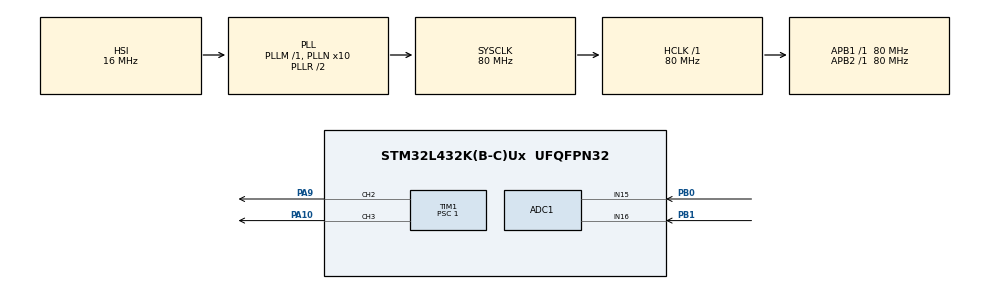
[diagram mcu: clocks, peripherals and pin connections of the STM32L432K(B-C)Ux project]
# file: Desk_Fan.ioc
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ADC1.EnableInjectedConversion=ENABLE
ADC1.EnableRegularConversion=DISABLE
ADC1.InjMonitoredBy-2\#ChannelInjectedConversion=__NULL
ADC1.InjMonitoredBy-3\#ChannelInjectedConversion=__NULL
ADC1.InjNumberOfConversion=2
ADC1.InjectedChannel-2\#ChannelInjectedConversion=ADC_CHANNEL_15
ADC1.InjectedChannel-3\#ChannelInjectedConversion=ADC_CHANNEL_16
ADC1.InjectedOffsetNumber-2\#ChannelInjectedConversion=ADC_OFFSET_NONE
ADC1.InjectedOffsetNumber-3\#ChannelInjectedConversion=ADC_OFFSET_NONE
ADC1.InjectedRank-2\#ChannelInjectedConversion=1
ADC1.InjectedRank-3\#ChannelInjectedConversion=2
ADC1.InjectedSamplingTime-2\#ChannelInjectedConversion=ADC_SAMPLETIME_640CYCLES_5
ADC1.InjectedSamplingTime-3\#ChannelInjectedConversion=ADC_SAMPLETIME_640CYCLES_5
ADC1.Rank1_Channel=ADC_CHANNEL_15
ADC1.Rank2_Channel=ADC_CHANNEL_16
ADC1.master=1
Dma.Request0=TIM1_CH2
Dma.Request1=TIM1_CH3
Dma.TIM1_CH2.0.Direction=DMA_MEMORY_TO_PERIPH
Dma.TIM1_CH2.0.Instance=DMA1_Channel3
Dma.TIM1_CH2.0.MemDataAlignment=DMA_MDATAALIGN_HALFWORD
Dma.TIM1_CH2.0.MemInc=DMA_MINC_ENABLE
Dma.TIM1_CH2.0.Mode=DMA_NORMAL
Dma.TIM1_CH2.0.PeriphDataAlignment=DMA_PDATAALIGN_HALFWORD
Dma.TIM1_CH2.0.PeriphInc=DMA_PINC_DISABLE
Dma.TIM1_CH2.0.Priority=DMA_PRIORITY_LOW
Dma.TIM1_CH3.1.Direction=DMA_MEMORY_TO_PERIPH
Dma.TIM1_CH3.1.Instance=DMA1_Channel7
Dma.TIM1_CH3.1.MemDataAlignment=DMA_MDATAALIGN_HALFWORD
Dma.TIM1_CH3.1.MemInc=DMA_MINC_ENABLE
Dma.TIM1_CH3.1.Mode=DMA_NORMAL
Dma.TIM1_CH3.1.PeriphDataAlignment=DMA_PDATAALIGN_HALFWORD
Dma.TIM1_CH3.1.PeriphInc=DMA_PINC_DISABLE
Dma.TIM1_CH3.1.Priority=DMA_PRIORITY_LOW
Mcu.Family=STM32L4
Mcu.Name=STM32L432K(B-C)Ux
Mcu.Package=UFQFPN32
NVIC.ADC1_IRQn=true\:0\:0\:false\:false\:true\:true\:true\:true
NVIC.DMA1_Channel3_IRQn=true\:0\:0\:false\:false\:true\:false\:true\:true
NVIC.DMA1_Channel7_IRQn=true\:0\:0\:false\:false\:true\:false\:true\:true
NVIC.PriorityGroup=NVIC_PRIORITYGROUP_4
PA10.Signal=S_TIM1_CH3
PA9.Signal=S_TIM1_CH2
PB0.Signal=ADCx_IN15
PB1.Signal=ADCx_IN16
ProjectManager.HeapSize=0x200
ProjectManager.StackSize=0x400
ProjectManager.TargetToolchain=STM32CubeIDE
RCC.ADCFreq_Value=80000000
RCC.AHBFreq_Value=80000000
RCC.APB1Freq_Value=80000000
RCC.APB1TimFreq_Value=80000000
RCC.APB2Freq_Value=80000000
RCC.APB2TimFreq_Value=80000000
RCC.CortexFreq_Value=80000000
RCC.HCLKFreq_Value=80000000
RCC.HSE_VALUE=8000000
RCC.HSI48_VALUE=48000000
RCC.HSI_VALUE=16000000
RCC.LSE_VALUE=32768
RCC.MSI_VALUE=4000000
RCC.PLLN=10
RCC.PLLSAI1N=20
RCC.PLLSAI1R=RCC_PLLR_DIV4
RCC.PLLSourceVirtual=RCC_PLLSOURCE_HSI
RCC.SYSCLKFreq_VALUE=80000000
RCC.SYSCLKSource=RCC_SYSCLKSOURCE_PLLCLK
RCC.USBFreq_Value=160000000
RCC.VCOOutputFreq_Value=160000000
SH.ADCx_IN15.0=ADC1_IN15,IN15-Single-Ended
SH.ADCx_IN16.0=ADC1_IN16,IN16-Single-Ended
SH.S_TIM1_CH2.0=TIM1_CH2,PWM Generation2 CH2
SH.S_TIM1_CH3.0=TIM1_CH3,PWM Generation3 CH3
TIM1.Channel-PWM\ Generation2\ CH2=TIM_CHANNEL_2
TIM1.Channel-PWM\ Generation3\ CH3=TIM_CHANNEL_3
TIM1.Period=99
TIM1.Prescaler=1
VP_TIM1_VS_ClockSourceINT.Mode=Internal
board=custom

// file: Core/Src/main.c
/* USER CODE BEGIN Header */
/**
  ******************************************************************************
  * @file           : main.c
  * @brief          : Main program body
  ******************************************************************************
  * @attention
  *
  * Copyright (c) 2023 STMicroelectronics.
  * All rights reserved.
  *
  * This software is licensed under terms that can be found in the LICENSE file
  * in the root directory of this software component.
  * If no LICENSE file comes with this software, it is provided AS-IS.
  *
  ******************************************************************************
  */
/* USER CODE END Header */
#include "main.h"

/* USER CODE BEGIN Includes */
extern uint32_t voltage1;
extern uint32_t voltage2;
/* USER CODE END Includes */

/* USER CODE BEGIN PM */
#define ABS(a,b) ((a>b) ? a-b : b-a)

/* USER CODE END PM */

 ADC_HandleTypeDef hadc1;

TIM_HandleTypeDef htim1;
DMA_HandleTypeDef hdma_tim1_ch2;
DMA_HandleTypeDef hdma_tim1_ch3;

void SystemClock_Config(void);
static void MX_GPIO_Init(void);
static void MX_ADC1_Init(void);
static void MX_DMA_Init(void);
static void MX_TIM1_Init(void);

/* USER CODE BEGIN 0 */
void set_lea_fan_pwms(uint32_t voltage_command_lea)
{
	uint32_t duty_cycle_lea = (voltage_command_lea > 100) ? 100 : voltage_command_lea;
	HAL_TIM_PWM_Start_DMA(&htim1, TIM_CHANNEL_3, &duty_cycle_lea, 1);
}
void set_raam_fan_pwm(uint32_t voltage_command_raam)
{
	uint32_t duty_cycle_raam = (voltage_command_raam > 100) ? 100 : voltage_command_raam;
	HAL_TIM_PWM_Start_DMA(&htim1, TIM_CHANNEL_2, &duty_cycle_raam, 1);
}

/* USER CODE END 0 */

int main(void)
{

  /* MCU Configuration--------------------------------------------------------*/

  /* Reset of all peripherals, Initializes the Flash interface and the Systick. */
  HAL_Init();

  /* Configure the system clock */
  SystemClock_Config();

  /* Initialize all configured peripherals */
  MX_GPIO_Init();
  MX_ADC1_Init();
  MX_DMA_Init();
  MX_TIM1_Init();

  /* Infinite loop */
  /* USER CODE BEGIN WHILE */

  HAL_ADCEx_InjectedStart_IT(&hadc1);
  uint32_t voltage_command_raam = 0;
  uint32_t voltage_command_lea = 0;
  uint32_t voltage_command_raam_prev = 0;
  uint32_t voltage_command_lea_prev = 0;

  while (1)
  {
	  voltage_command_raam = voltage1;
	  voltage_command_lea = voltage2;

	  voltage_command_raam = (voltage_command_raam > 2000) ? (voltage_command_raam-2000)/10 :0;
	  voltage_command_lea = (voltage_command_lea > 1900) ? (voltage_command_lea-1880)/8 :0;

	  if (ABS(voltage_command_raam,voltage_command_raam_prev) > 10 || voltage_command_raam == 0 || voltage_command_raam >= 100)
	  {
		  voltage_command_raam_prev = voltage_command_raam;
		  set_raam_fan_pwm(voltage_command_raam);
	  }
	  if (ABS(voltage_command_lea,voltage_command_lea_prev) > 10 || voltage_command_lea == 0 || voltage_command_lea >= 100)
	  {
		  voltage_command_lea_prev = voltage_command_lea;
		  set_lea_fan_pwms(voltage_command_lea);
	  }

	  HAL_ADCEx_InjectedStart_IT(&hadc1);
	  HAL_Delay(100);

    /* USER CODE END WHILE */

  }
}

void SystemClock_Config(void)
{
  RCC_OscInitTypeDef RCC_OscInitStruct = {0};
  RCC_ClkInitTypeDef RCC_ClkInitStruct = {0};

  /** Configure the main internal regulator output voltage
  */
  if (HAL_PWREx_ControlVoltageScaling(PWR_REGULATOR_VOLTAGE_SCALE1) != HAL_OK)
  {
    Error_Handler();
  }

  /** Initializes the RCC Oscillators according to the specified parameters
  * in the RCC_OscInitTypeDef structure.
  */
  RCC_OscInitStruct.OscillatorType = RCC_OSCILLATORTYPE_HSI;
  RCC_OscInitStruct.HSIState = RCC_HSI_ON;
  RCC_OscInitStruct.HSICalibrationValue = RCC_HSICALIBRATION_DEFAULT;
  RCC_OscInitStruct.PLL.PLLState = RCC_PLL_ON;
  RCC_OscInitStruct.PLL.PLLSource = RCC_PLLSOURCE_HSI;
  RCC_OscInitStruct.PLL.PLLM = 1;
  RCC_OscInitStruct.PLL.PLLN = 10;
  RCC_OscInitStruct.PLL.PLLP = RCC_PLLP_DIV7;
  RCC_OscInitStruct.PLL.PLLQ = RCC_PLLQ_DIV2;
  RCC_OscInitStruct.PLL.PLLR = RCC_PLLR_DIV2;
  if (HAL_RCC_OscConfig(&RCC_OscInitStruct) != HAL_OK)
  {
    Error_Handler();
  }

  /** Initializes the CPU, AHB and APB buses clocks
  */
  RCC_ClkInitStruct.ClockType = RCC_CLOCKTYPE_HCLK|RCC_CLOCKTYPE_SYSCLK
                              |RCC_CLOCKTYPE_PCLK1|RCC_CLOCKTYPE_PCLK2;
  RCC_ClkInitStruct.SYSCLKSource = RCC_SYSCLKSOURCE_PLLCLK;
  RCC_ClkInitStruct.AHBCLKDivider = RCC_SYSCLK_DIV1;
  RCC_ClkInitStruct.APB1CLKDivider = RCC_HCLK_DIV1;
  RCC_ClkInitStruct.APB2CLKDivider = RCC_HCLK_DIV1;

  if (HAL_RCC_ClockConfig(&RCC_ClkInitStruct, FLASH_LATENCY_4) != HAL_OK)
  {
    Error_Handler();
  }
}

static void MX_ADC1_Init(void)
{

  ADC_InjectionConfTypeDef sConfigInjected = {0};

  /** Common config
  */
  hadc1.Instance = ADC1;
  hadc1.Init.ClockPrescaler = ADC_CLOCK_ASYNC_DIV1;
  hadc1.Init.Resolution = ADC_RESOLUTION_12B;
  hadc1.Init.DataAlign = ADC_DATAALIGN_RIGHT;
  hadc1.Init.ScanConvMode = ADC_SCAN_ENABLE;
  hadc1.Init.EOCSelection = ADC_EOC_SINGLE_CONV;
  hadc1.Init.LowPowerAutoWait = DISABLE;
  hadc1.Init.ContinuousConvMode = DISABLE;
  hadc1.Init.NbrOfConversion = 1;
  hadc1.Init.DiscontinuousConvMode = DISABLE;
  hadc1.Init.DMAContinuousRequests = DISABLE;
  hadc1.Init.Overrun = ADC_OVR_DATA_PRESERVED;
  hadc1.Init.OversamplingMode = DISABLE;
  if (HAL_ADC_Init(&hadc1) != HAL_OK)
  {
    Error_Handler();
  }

  /** Disable Injected Queue
  */
  HAL_ADCEx_DisableInjectedQueue(&hadc1);

  /** Configure Injected Channel
  */
  sConfigInjected.InjectedChannel = ADC_CHANNEL_15;
  sConfigInjected.InjectedRank = ADC_INJECTED_RANK_1;
  sConfigInjected.InjectedSamplingTime = ADC_SAMPLETIME_640CYCLES_5;
  sConfigInjected.InjectedSingleDiff = ADC_SINGLE_ENDED;
  sConfigInjected.InjectedOffsetNumber = ADC_OFFSET_NONE;
  sConfigInjected.InjectedOffset = 0;
  sConfigInjected.InjectedNbrOfConversion = 2;
  sConfigInjected.InjectedDiscontinuousConvMode = DISABLE;
  sConfigInjected.AutoInjectedConv = DISABLE;
  sConfigInjected.QueueInjectedContext = DISABLE;
  sConfigInjected.ExternalTrigInjecConv = ADC_INJECTED_SOFTWARE_START;
  sConfigInjected.ExternalTrigInjecConvEdge = ADC_EXTERNALTRIGINJECCONV_EDGE_NONE;
  sConfigInjected.InjecOversamplingMode = DISABLE;
  if (HAL_ADCEx_InjectedConfigChannel(&hadc1, &sConfigInjected) != HAL_OK)
  {
    Error_Handler();
  }

  /** Configure Injected Channel
  */
  sConfigInjected.InjectedChannel = ADC_CHANNEL_16;
  sConfigInjected.InjectedRank = ADC_INJECTED_RANK_2;
  if (HAL_ADCEx_InjectedConfigChannel(&hadc1, &sConfigInjected) != HAL_OK)
  {
    Error_Handler();
  }

}

static void MX_TIM1_Init(void)
{

  TIM_ClockConfigTypeDef sClockSourceConfig = {0};
  TIM_MasterConfigTypeDef sMasterConfig = {0};
  TIM_OC_InitTypeDef sConfigOC = {0};
  TIM_BreakDeadTimeConfigTypeDef sBreakDeadTimeConfig = {0};

  htim1.Instance = TIM1;
  htim1.Init.Prescaler = 1;
  htim1.Init.CounterMode = TIM_COUNTERMODE_UP;
  htim1.Init.Period = 99;
  htim1.Init.ClockDivision = TIM_CLOCKDIVISION_DIV1;
  htim1.Init.RepetitionCounter = 0;
  htim1.Init.AutoReloadPreload = TIM_AUTORELOAD_PRELOAD_DISABLE;
  if (HAL_TIM_Base_Init(&htim1) != HAL_OK)
  {
    Error_Handler();
  }
  sClockSourceConfig.ClockSource = TIM_CLOCKSOURCE_INTERNAL;
  if (HAL_TIM_ConfigClockSource(&htim1, &sClockSourceConfig) != HAL_OK)
  {
    Error_Handler();
  }
  if (HAL_TIM_PWM_Init(&htim1) != HAL_OK)
  {
    Error_Handler();
  }
  sMasterConfig.MasterOutputTrigger = TIM_TRGO_RESET;
  sMasterConfig.MasterOutputTrigger2 = TIM_TRGO2_RESET;
  sMasterConfig.MasterSlaveMode = TIM_MASTERSLAVEMODE_DISABLE;
  if (HAL_TIMEx_MasterConfigSynchronization(&htim1, &sMasterConfig) != HAL_OK)
  {
    Error_Handler();
  }
  sConfigOC.OCMode = TIM_OCMODE_PWM1;
  sConfigOC.Pulse = 0;
  sConfigOC.OCPolarity = TIM_OCPOLARITY_HIGH;
  sConfigOC.OCNPolarity = TIM_OCNPOLARITY_HIGH;
  sConfigOC.OCFastMode = TIM_OCFAST_DISABLE;
  sConfigOC.OCIdleState = TIM_OCIDLESTATE_RESET;
  sConfigOC.OCNIdleState = TIM_OCNIDLESTATE_RESET;
  if (HAL_TIM_PWM_ConfigChannel(&htim1, &sConfigOC, TIM_CHANNEL_2) != HAL_OK)
  {
    Error_Handler();
  }
  if (HAL_TIM_PWM_ConfigChannel(&htim1, &sConfigOC, TIM_CHANNEL_3) != HAL_OK)
  {
    Error_Handler();
  }
  sBreakDeadTimeConfig.OffStateRunMode = TIM_OSSR_DISABLE;
  sBreakDeadTimeConfig.OffStateIDLEMode = TIM_OSSI_DISABLE;
  sBreakDeadTimeConfig.LockLevel = TIM_LOCKLEVEL_OFF;
  sBreakDeadTimeConfig.DeadTime = 0;
  sBreakDeadTimeConfig.BreakState = TIM_BREAK_DISABLE;
  sBreakDeadTimeConfig.BreakPolarity = TIM_BREAKPOLARITY_HIGH;
  sBreakDeadTimeConfig.BreakFilter = 0;
  sBreakDeadTimeConfig.Break2State = TIM_BREAK2_DISABLE;
  sBreakDeadTimeConfig.Break2Polarity = TIM_BREAK2POLARITY_HIGH;
  sBreakDeadTimeConfig.Break2Filter = 0;
  sBreakDeadTimeConfig.AutomaticOutput = TIM_AUTOMATICOUTPUT_DISABLE;
  if (HAL_TIMEx_ConfigBreakDeadTime(&htim1, &sBreakDeadTimeConfig) != HAL_OK)
  {
    Error_Handler();
  }
  HAL_TIM_MspPostInit(&htim1);

}

static void MX_DMA_Init(void)
{

  /* DMA controller clock enable */
  __HAL_RCC_DMA1_CLK_ENABLE();

  /* DMA interrupt init */
  /* DMA1_Channel3_IRQn interrupt configuration */
  HAL_NVIC_SetPriority(DMA1_Channel3_IRQn, 0, 0);
  HAL_NVIC_EnableIRQ(DMA1_Channel3_IRQn);
  /* DMA1_Channel7_IRQn interrupt configuration */
  HAL_NVIC_SetPriority(DMA1_Channel7_IRQn, 0, 0);
  HAL_NVIC_EnableIRQ(DMA1_Channel7_IRQn);

}

static void MX_GPIO_Init(void)
{

  /* GPIO Ports Clock Enable */
  __HAL_RCC_GPIOB_CLK_ENABLE();
  __HAL_RCC_GPIOA_CLK_ENABLE();

}

void Error_Handler(void)
{
  __disable_irq();
  while (1)
  {
  }
}
